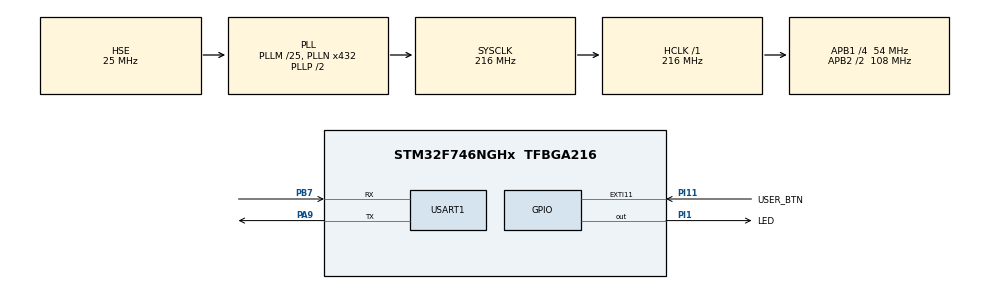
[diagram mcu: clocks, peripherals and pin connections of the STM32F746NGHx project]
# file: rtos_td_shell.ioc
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FREERTOS.Tasks01=defaultTask,0,128,StartDefaultTask,Default,NULL,Dynamic,NULL,NULL
FREERTOS.configCHECK_FOR_STACK_OVERFLOW=2
FREERTOS.configGENERATE_RUN_TIME_STATS=1
FREERTOS.configRECORD_STACK_HIGH_ADDRESS=1
FREERTOS.configUSE_STATS_FORMATTING_FUNCTIONS=1
FREERTOS.configUSE_TRACE_FACILITY=1
Mcu.Family=STM32F7
Mcu.Name=STM32F746NGHx
Mcu.Package=TFBGA216
NVIC.PriorityGroup=NVIC_PRIORITYGROUP_4
NVIC.TIM6_DAC_IRQn=true\:15\:0\:false\:false\:true\:false\:false\:true\:true
NVIC.TimeBase=TIM6_DAC_IRQn
NVIC.TimeBaseIP=TIM6
NVIC.USART1_IRQn=true\:5\:0\:false\:false\:true\:true\:true\:true\:true
PA13.Mode=Serial_Wire
PA13.Signal=SYS_JTMS-SWDIO
PA14.Mode=Serial_Wire
PA14.Signal=SYS_JTCK-SWCLK
PA9.Mode=Asynchronous
PA9.Signal=USART1_TX
PB7.Mode=Asynchronous
PB7.Signal=USART1_RX
PH0/OSC_IN.Mode=HSE-External-Oscillator
PH0/OSC_IN.Signal=RCC_OSC_IN
PH1/OSC_OUT.Mode=HSE-External-Oscillator
PH1/OSC_OUT.Signal=RCC_OSC_OUT
PI1.GPIO_Label=LED
PI1.Signal=GPIO_Output
PI11.GPIO_Label=USER_BTN
PI11.Signal=GPXTI11
ProjectManager.HeapSize=0x200
ProjectManager.StackSize=0x400
ProjectManager.TargetToolchain=STM32CubeIDE
RCC.AHBFreq_Value=216000000
RCC.APB1CLKDivider=RCC_HCLK_DIV4
RCC.APB1Freq_Value=54000000
RCC.APB1TimFreq_Value=108000000
RCC.APB2CLKDivider=RCC_HCLK_DIV2
RCC.APB2Freq_Value=108000000
RCC.APB2TimFreq_Value=216000000
RCC.CortexFreq_Value=216000000
RCC.HCLKFreq_Value=216000000
RCC.HSE_VALUE=25000000
RCC.HSI_VALUE=16000000
RCC.LSE_VALUE=32768
RCC.PLLM=25
RCC.PLLN=432
RCC.PLLSourceVirtual=RCC_PLLSOURCE_HSE
RCC.SYSCLKFreq_VALUE=216000000
RCC.SYSCLKSource=RCC_SYSCLKSOURCE_PLLCLK
RCC.USBFreq_Value=216000000
RCC.VCOOutputFreq_Value=432000000
TIM2.Prescaler=1080-1
USART1.VirtualMode-Asynchronous=VM_ASYNC
VP_FREERTOS_VS_CMSIS_V1.Mode=CMSIS_V1
VP_SYS_VS_tim6.Mode=TIM6
VP_TIM2_VS_ClockSourceINT.Mode=Internal
board=STM32F746G-DISCO

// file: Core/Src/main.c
/* USER CODE BEGIN Header */
/**
 ******************************************************************************
 * @file           : main.c
 * @brief          : Main program body
 ******************************************************************************
 * @attention
 *
 * Copyright (c) 2022 STMicroelectronics.
 * All rights reserved.
 *
 * This software is licensed under terms that can be found in the LICENSE file
 * in the root directory of this software component.
 * If no LICENSE file comes with this software, it is provided AS-IS.
 *
 ******************************************************************************
 */
/* USER CODE END Header */
#include "main.h"
#include "cmsis_os.h"
#include "tim.h"
#include "usart.h"
#include "gpio.h"

/* USER CODE BEGIN Includes */
#include <stdio.h>
#include <stdlib.h>
#include "shell.h"
/* USER CODE END Includes */

/* USER CODE BEGIN PD */
#define TASK_SHELL_STACK_DEPTH 512
#define TASK_SHELL_PRIORITY 1

#define TASK_LED_STACK_DEPTH 512
#define TASK_LED_PRIORITY 2
/* USER CODE END PD */

/* USER CODE BEGIN PV */
TaskHandle_t h_task_shell = NULL;
TaskHandle_t h_task_led = NULL;

/* USER CODE END PV */

void SystemClock_Config(void);
void MX_FREERTOS_Init(void);
/* USER CODE BEGIN PFP */

void task_led(void * t);
/* USER CODE END PFP */

/* USER CODE BEGIN 0 */
int __io_putchar(int ch)
{
	HAL_UART_Transmit(&huart1, (uint8_t*)&ch, 1, HAL_MAX_DELAY);
	return ch;
}

void HAL_UART_RxCpltCallback(UART_HandleTypeDef *huart)
{
	if (huart->Instance == USART1)
	{
		shell_uart_receive_irq_cb();	// C'est la fonction qui donne le sémaphore!
	}
}

int fonction(int argc, char ** argv)
{
	printf("Je suis une fonction bidon\r\n");
	printf("argc = %d\r\n", argc);

	for (int i = 0 ; i < argc ; i++)
	{
		printf("arg %d = %s\r\n", i, argv[i]);
	}

	return 0;
}

int addition(int argc, char ** argv)
{
	if (argc == 3)
	{
		int a, b;
		a = atoi(argv[1]);
		b = atoi(argv[2]);
		printf("%d + %d = %d\r\n", a, b, a+b);

		return 0;
	}
	else
	{
		printf("Erreur, pas le bon nombre d'arguments\r\n");
		return -1;
	}
}

int stat(int argc, char ** argv)
{
	if (argc == 1)
	{
		char buffer[100] = {0};
		vTaskGetRunTimeStats(buffer);
		printf("%s \r\n", buffer);

		vTaskList(buffer);
		printf("%s \r\n", buffer);
		return 0;
	}
	else
	{
		printf("Erreur, pas le bon nombre d'arguments\r\n");
		return -1;
	}
}

int led(int argc, char ** argv)
{ //ajoter tache led et faire varier frequence
	if (argc == 2)
	{
		uint32_t a = atoi(argv[1]);
		static uint32_t t;
		t = 1000/a;
		printf("frequence  : %lu Hz \t\t periode : %lu ms\r\n", a, t);

		if( h_task_led == NULL && a != 0){
			if (xTaskCreate(task_led, "Led", TASK_LED_STACK_DEPTH, &t , TASK_LED_PRIORITY, &h_task_led) != pdPASS)
			{
				printf("Error creating task led\r\n");
				Error_Handler();
			}
		}

		if( h_task_led != NULL && a == 0){
			vTaskDelete(h_task_led);
		}

		return 0;
	}
	else
	{
		printf("Erreur, pas le bon nombre d'arguments\r\n");
		return -1;
	}
}

void task_led(void * t){

	while(1){
		HAL_GPIO_TogglePin(LED_GPIO_Port, LED_Pin);
		vTaskDelay( *(uint32_t *) t);
	}
}

void task_shell(void * unused)
{
	shell_init();
	shell_add('f', fonction, "Une fonction inutile");
	shell_add('a', addition, "Effectue une somme");
	shell_add('l', led, "Choisis la periode de clignotement de la led, 0 pour eteindre");
	shell_add('s', stat, "Affiche les stats");
	shell_run();	// boucle infinie
}

void configureTimerForRunTimeStats(void){
	HAL_TIM_Base_Start(&htim2);
}

uint32_t getRunTimeCounterValue(void)
{
	return __HAL_TIM_GET_COUNTER(&htim2);
}

/* USER CODE END 0 */

int main(void)
{

  /* MCU Configuration--------------------------------------------------------*/

  /* Reset of all peripherals, Initializes the Flash interface and the Systick. */
  HAL_Init();

  /* Configure the system clock */
  SystemClock_Config();

  /* Initialize all configured peripherals */
  MX_GPIO_Init();
  MX_USART1_UART_Init();
  MX_TIM2_Init();
  /* USER CODE BEGIN 2 */

  DBGMCU->APB1FZ |= DBGMCU_APB1_FZ_DBG_TIM6_STOP;

	if (xTaskCreate(task_shell, "Shell", TASK_SHELL_STACK_DEPTH, NULL, TASK_SHELL_PRIORITY, &h_task_shell) != pdPASS)
	{
		printf("Error creating task shell\r\n");
		Error_Handler();
	}

	vTaskStartScheduler();
  /* USER CODE END 2 */

  /* Call init function for freertos objects (in freertos.c) */
  MX_FREERTOS_Init();

  /* Start scheduler */
  osKernelStart();
  /* We should never get here as control is now taken by the scheduler */
  /* Infinite loop */
	while (1)
	{

	}
}

void SystemClock_Config(void)
{
  RCC_OscInitTypeDef RCC_OscInitStruct = {0};
  RCC_ClkInitTypeDef RCC_ClkInitStruct = {0};

  /** Configure the main internal regulator output voltage
  */
  __HAL_RCC_PWR_CLK_ENABLE();
  __HAL_PWR_VOLTAGESCALING_CONFIG(PWR_REGULATOR_VOLTAGE_SCALE1);

  /** Initializes the RCC Oscillators according to the specified parameters
  * in the RCC_OscInitTypeDef structure.
  */
  RCC_OscInitStruct.OscillatorType = RCC_OSCILLATORTYPE_HSE;
  RCC_OscInitStruct.HSEState = RCC_HSE_ON;
  RCC_OscInitStruct.PLL.PLLState = RCC_PLL_ON;
  RCC_OscInitStruct.PLL.PLLSource = RCC_PLLSOURCE_HSE;
  RCC_OscInitStruct.PLL.PLLM = 25;
  RCC_OscInitStruct.PLL.PLLN = 432;
  RCC_OscInitStruct.PLL.PLLP = RCC_PLLP_DIV2;
  RCC_OscInitStruct.PLL.PLLQ = 2;
  if (HAL_RCC_OscConfig(&RCC_OscInitStruct) != HAL_OK)
  {
    Error_Handler();
  }

  /** Activate the Over-Drive mode
  */
  if (HAL_PWREx_EnableOverDrive() != HAL_OK)
  {
    Error_Handler();
  }

  /** Initializes the CPU, AHB and APB buses clocks
  */
  RCC_ClkInitStruct.ClockType = RCC_CLOCKTYPE_HCLK|RCC_CLOCKTYPE_SYSCLK
                              |RCC_CLOCKTYPE_PCLK1|RCC_CLOCKTYPE_PCLK2;
  RCC_ClkInitStruct.SYSCLKSource = RCC_SYSCLKSOURCE_PLLCLK;
  RCC_ClkInitStruct.AHBCLKDivider = RCC_SYSCLK_DIV1;
  RCC_ClkInitStruct.APB1CLKDivider = RCC_HCLK_DIV4;
  RCC_ClkInitStruct.APB2CLKDivider = RCC_HCLK_DIV2;

  if (HAL_RCC_ClockConfig(&RCC_ClkInitStruct, FLASH_LATENCY_7) != HAL_OK)
  {
    Error_Handler();
  }
}

void HAL_TIM_PeriodElapsedCallback(TIM_HandleTypeDef *htim)
{
  if (htim->Instance == TIM6) {
    HAL_IncTick();
  }
}

void Error_Handler(void)
{
	__disable_irq();
	while (1)
	{
	}
}
